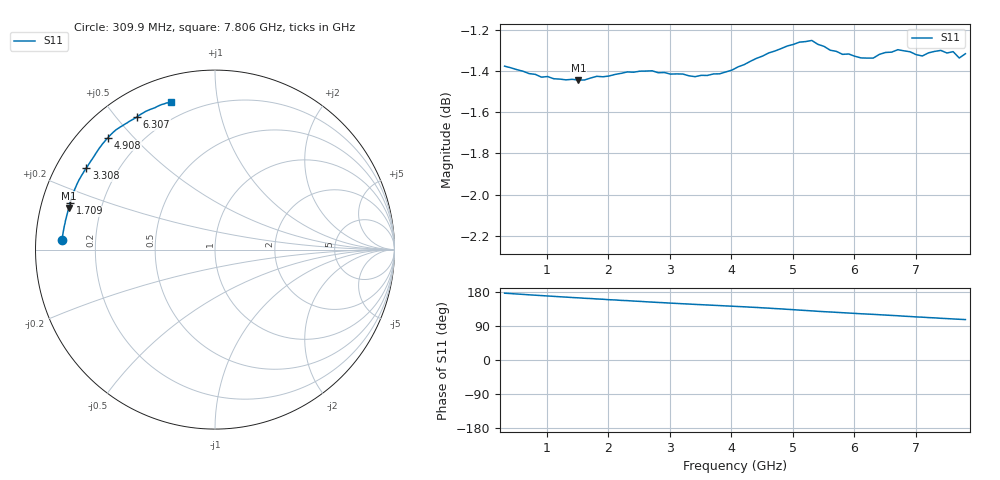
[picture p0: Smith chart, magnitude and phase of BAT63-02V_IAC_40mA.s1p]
! Infineon Technologies  Discrete & RF Semiconductors
! BAT63-02V
! IAC = 40 mA
! One-Port S-Parameters
# Hz  S  MA  R  50
!f  S11
!Hz  Mag  Ang
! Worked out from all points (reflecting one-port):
!   76 points, 309.9 MHz to 7.806 GHz, reference 50 ohm
!   lowest |S11| = -1.4 dB at 1.509 GHz (marker M1), VSWR 12.07, Z = 4.22 + j6.95 ohm
!   phase of S11 starts at 176 deg and turns -70 deg over the sweep
!   S11 on the Smith chart (normalised r, x): 309.9 MHz: 0.08, +0.03; 1.709 GHz: 0.08, +0.16; 3.308 GHz: 0.09, +0.29; 4.908 GHz: 0.09, +0.42; 6.307 GHz: 0.10, +0.57; 7.806 GHz: 0.12, +0.74
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3.0985e8  0.8535 176.3
7.0965e8  0.85 172.0
1.30935e9  0.847 166.0
1.50925e9  0.8469 164.1
1.6092e9  0.847 162.9
1.70915e9  0.8479 162.2
1.8091e9  0.8487 161.1
1.90905e9  0.8485 160.3
2.009e9  0.8489 159.1
2.10895e9  0.8496 158.4
2.2089e9  0.8501 157.3
2.50875e9  0.8511 154.8
2.6087e9  0.8512 153.7
3.2084e9  0.8498 148.4
3.30835e9  0.8489 147.6
4.10795e9  0.8532 141.1
4.4078e9  0.8573 138.7
4.90755e9  0.8632 133.8
5.0075e9  0.864 132.8
5.4073e9  0.864 128.5
6.007e9  0.8583 123.0
6.30685e9  0.8574 120.4
6.70665e9  0.8614 116.8
6.90655e9  0.8604 114.8
7.0065e9  0.859 113.6
7.10645e9  0.8584 113.0
7.4063e9  0.8611 110.1
7.8061e9  0.8595 106.7
